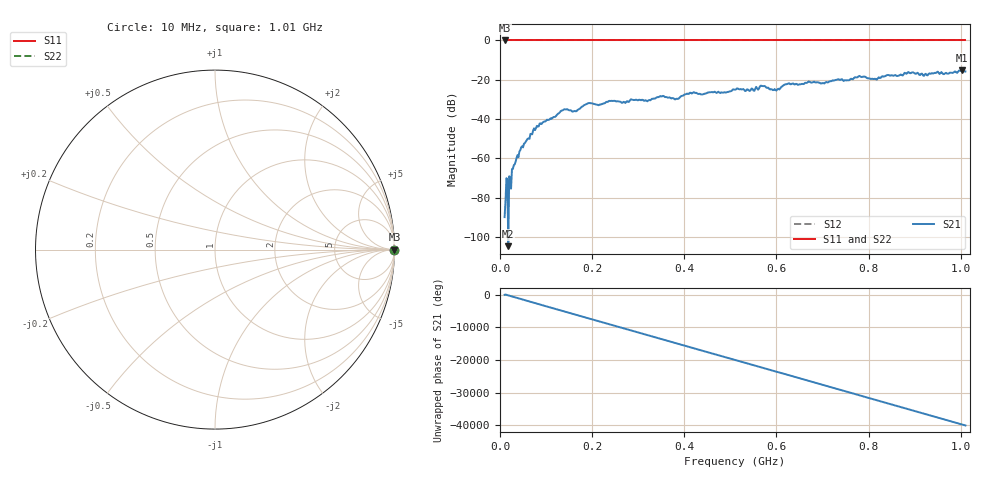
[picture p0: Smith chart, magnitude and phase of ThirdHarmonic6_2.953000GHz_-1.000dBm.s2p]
! 8/17/2025 8:18:42 AM
! C:\ANRITSUVNA\TEMP\TEMP.S2P
! CHANNEL.1
! TR.MEASUREMENT
! RAW.DATA
! RF.CORRECTION.OFF
! AVERAGING.OFF
! IF.BANDWIDTH: 5KHZ
! SWEEPTYPE:  FREQ.SWEEP(Linear)
! Reference Plane Port Info
! PORT:  PORT1  PORT2
! DISTANCE:  0  m  0  m
! TIME:  0  s  0  s
! PHASE.OFFSET:  0  deg.  0  deg.
! LOSS:  0  dB  0  dB
! REF.LOSS:  0  dB  0  dB
! REF.FREQ:  0  Hz  0  Hz
! Power Info
! POWER:  -20  dBm  -20  dBm
! EFF.POWER:  -20  dBm  -20  dBm
! SOURCE.ATTEN:  0  dB  0  dB
! TEST.ATTEN:  0  dB  0  dB
# GHZ S RI R 50.0
! FREQ.GHZ  S11RE  S11IM  S21RE  S21IM  S12RE  S12IM  S22RE  S22IM
!; PortSelection: Port_12
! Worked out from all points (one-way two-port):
!   501 points, 10 MHz to 1.01 GHz, reference 50 ohm
!   highest |S21| = -15.23 dB at 1.002 GHz (marker M1); lowest = -104.7 dB at 18 MHz (marker M2)
!   lowest |S11| = 0.0 dB at 10 MHz (marker M3)
!   |S11| at or under -10 dB: nowhere
!   |S22| runs from 0.0 to 0.0 dB; largest |S21 - S12| = 1.2
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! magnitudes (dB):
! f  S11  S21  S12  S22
! 10 MHz  0.0  -89.9  0.0  0.0
! 18 MHz  0.0  -104.7  0.0  0.0
! 22 MHz  0.0  -70.0  0.0  0.0
! 30 MHz  0.0  -63.5  0.0  0.0
! 46 MHz  0.0  -54.3  0.0  0.0
! 76 MHz  0.0  -45.6  0.0  0.0
! 136 MHz  0.0  -35.6  0.0  0.0
! 162 MHz  0.0  -35.9  0.0  0.0
! 178 MHz  0.0  -33.7  0.0  0.0
! 344 MHz  0.0  -28.9  0.0  0.0
! 384 MHz  0.0  -29.6  0.0  0.0
! 416 MHz  0.0  -27.0  0.0  0.0
! 510 MHz  0.0  -25.1  0.0  0.0
! 548 MHz  0.0  -24.6  0.0  0.0
! 570 MHz  0.0  -23.2  0.0  0.0
! 596 MHz  0.0  -24.8  0.0  0.0
! 624 MHz  0.0  -22.1  0.0  0.0
! 678 MHz  0.0  -21.4  0.0  0.0
! 814 MHz  0.0  -19.5  0.0  0.0
! 844 MHz  0.0  -17.7  0.0  0.0
! 1.002 GHz  0.0  -15.2  0.0  0.0
! 1.01 GHz  0.0  -15.8  0.0  0.0
